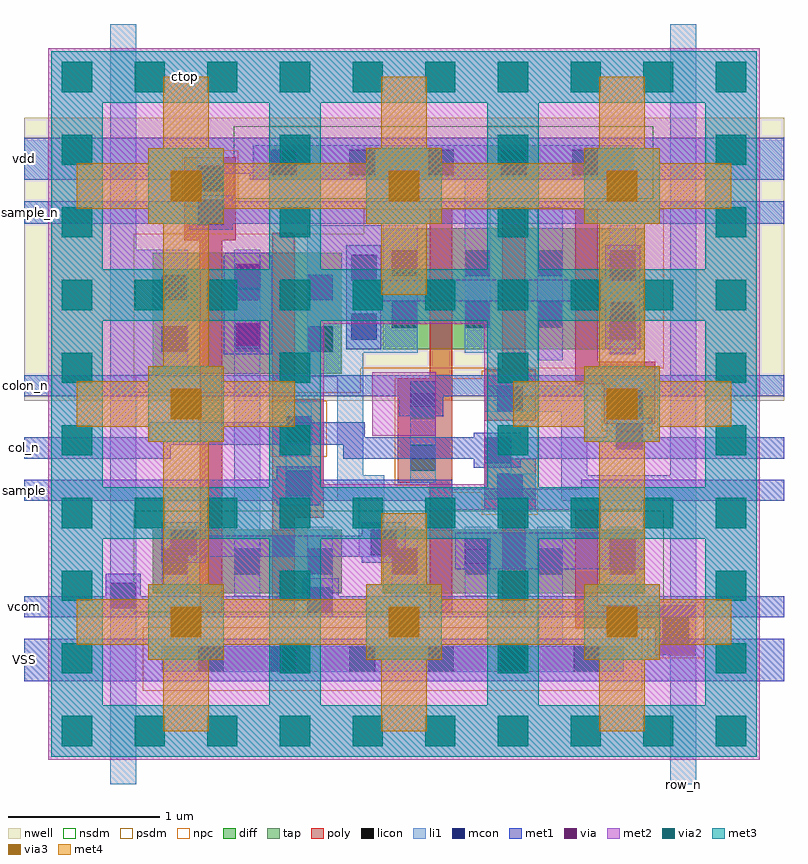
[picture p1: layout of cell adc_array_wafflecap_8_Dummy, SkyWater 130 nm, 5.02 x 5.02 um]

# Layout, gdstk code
import gdstk
lib = gdstk.Library(unit=1e-6, precision=1e-09)
def R(c, l, rs):  # rectangles x0, y0, x1, y1
    for r in rs: c.add(gdstk.rectangle(r[:2], r[2:], *l))
def A(c, l, x, y, w, h, nx, ny, dx, dy):  # array of equal rectangles
    R(c, l, [(x+i*dx, y+j*dy, x+i*dx+w, y+j*dy+h) for i in range(nx) for j in range(ny)])
nwell = (64, 20)
diff = (65, 20)
tap = (65, 44)
poly = (66, 20)
licon = (66, 44)
li1 = (67, 20)
mcon = (67, 44)
met1 = (68, 20)
via = (68, 44)
met2 = (69, 20)
via2 = (69, 44)
met3 = (70, 20)
via3 = (70, 44)
met4 = (71, 20)
nsdm = (93, 44)
psdm = (94, 20)
npc = (95, 20)

adc_array_wafflecap_8_du = lib.new_cell('adc_array_wafflecap_8_Dummy_25um2')
R(adc_array_wafflecap_8_du, met2, [(0.16,0.16,4.86,1.98), (0.16,1.98,1.98,3.04), (3.04,1.98,4.86,3.04), (2.3,2.3,2.72,2.72), (0.16,3.04,4.86,4.86)])
A(adc_array_wafflecap_8_du, via2, 0.25, 0.25, 0.2, 0.2, 10, 4, 0.48, 1.44)
A(adc_array_wafflecap_8_du, via2, 0.25, 0.73, 0.2, 0.2, 4, 2, 1.44, 0.48)
A(adc_array_wafflecap_8_du, via2, 0.25, 2.17, 0.2, 0.2, 4, 2, 1.44, 0.48)
A(adc_array_wafflecap_8_du, via2, 0.25, 3.61, 0.2, 0.2, 4, 2, 1.44, 0.48)
A(adc_array_wafflecap_8_du, met3, 0.18, 0.18, 4.66, 0.34, 1, 4, 0, 1.44)
A(adc_array_wafflecap_8_du, met3, 0.18, 0.52, 0.34, 1.1, 4, 3, 1.44, 1.44)
A(adc_array_wafflecap_8_du, met3, 0.82, 0.82, 0.5, 0.5, 3, 2, 1.44, 2.88)
R(adc_array_wafflecap_8_du, met3, [(0.82,2.26,1.32,2.76), (3.7,2.26,4.2,2.76)])
A(adc_array_wafflecap_8_du, via3, 0.97, 0.97, 0.2, 0.2, 3, 2, 1.44, 2.88)
R(adc_array_wafflecap_8_du, via3, [(0.97,2.41,1.17,2.61), (3.85,2.41,4.05,2.61)])
A(adc_array_wafflecap_8_du, met4, 0.92, 0.35, 0.3, 0.47, 3, 2, 1.44, 3.85)
A(adc_array_wafflecap_8_du, met4, 0.82, 0.82, 0.5, 0.1, 3, 2, 1.44, 0.4)
A(adc_array_wafflecap_8_du, met4, 0.82, 3.7, 0.5, 0.1, 3, 2, 1.44, 0.4)
R(adc_array_wafflecap_8_du, met4, [(0.35,0.92,4.67,1.22), (0.92,1.32,1.22,2.26), (2.36,1.32,2.66,1.79), (3.8,1.32,4.1,2.26), (0.82,2.26,1.32,2.36), (3.7,2.26,4.2,2.36), (0.35,2.36,1.79,2.66), (3.23,2.36,4.67,2.66), (0.82,2.66,1.32,2.76), (3.7,2.66,4.2,2.76), (0.92,2.76,1.22,3.7), (3.8,2.76,4.1,3.7), (2.36,3.23,2.66,3.7), (0.35,3.8,4.67,4.1)])
adc_array_wafflecap_8_du.add(gdstk.Label('symmetry_metal', (2.72,2.3), layer=69, texttype=5))

adc_array_circuit_150n_d = lib.new_cell('adc_array_circuit_150n_Dummy')
R(adc_array_circuit_150n_d, nwell, [(1.17,4.74,5.21,6.61)])
R(adc_array_circuit_150n_d, diff, [(1.55,3.47,2.8,3.89), (3.07,3.47,4.8,3.89), (1.55,4.92,2.8,5.72), (3.07,5.08,4.8,5.88)])
R(adc_array_circuit_150n_d, tap, [(1.61,2.95,4.66,3.12), (2.21,6.2,4.73,6.43)])
R(adc_array_circuit_150n_d, poly, [(4.87,3.06,5.14,3.24), (4.34,3.24,5.14,3.39), (1.86,3.34,2.01,5.8), (2.34,3.34,2.49,3.97), (3.38,3.34,3.53,4.2), (3.86,3.34,4.01,4.02), (4.34,3.39,4.49,4.02), (2.34,3.97,2.68,4.75), (3.74,4.02,4.08,4.34), (3.17,4.2,3.53,4.89), (3.92,4.34,4.08,4.36), (4.53,4.59,4.87,4.85), (3.74,4.61,4.08,4.95), (2.34,4.75,2.49,5.85), (4.34,4.85,4.87,5), (3.38,4.89,3.53,6.01), (3.86,4.95,4.01,6.01), (4.34,5,4.49,6.01), (1.76,5.8,2.1,6.35)])
A(adc_array_circuit_150n_d, licon, 2.33, 2.95, 0.17, 0.17, 3, 2, 0.52, 3.28)
A(adc_array_circuit_150n_d, licon, 1.61, 3.595, 0.17, 0.17, 3, 2, 0.48, 1.47)
A(adc_array_circuit_150n_d, licon, 3.13, 3.595, 0.17, 0.17, 4, 2, 0.48, 1.63)
A(adc_array_circuit_150n_d, licon, 1.61, 5.405, 0.17, 0.17, 3, 1, 0.48, 0)
A(adc_array_circuit_150n_d, licon, 3.13, 5.565, 0.17, 0.17, 4, 1, 0.48, 0)
R(adc_array_circuit_150n_d, licon, [(1.85,2.95,2.02,3.12), (3.84,2.95,4.01,3.12), (4.33,2.95,4.5,3.12), (4.92,3.14,5.09,3.31), (3.825,4.09,3.995,4.26), (3.25,4.28,3.42,4.45), (2.43,4.47,2.6,4.64), (3.25,4.62,3.42,4.79), (4.615,4.64,4.785,4.81), (3.825,4.67,3.995,4.84), (1.845,6.125,2.015,6.295), (3.85,6.23,4.02,6.4), (4.32,6.23,4.49,6.4)])
R(adc_array_circuit_150n_d, li1, [(1.27,2.85,1.44,4.91), (4.97,2.85,5.14,3.06), (1.61,2.95,4.66,3.12), (4.9,3.06,5.14,3.39), (4.09,3.12,4.26,3.91), (2.57,3.31,2.74,3.91), (4.97,3.39,5.14,4.08), (1.61,3.45,1.78,3.67), (2.09,3.45,2.26,5.74), (3.13,3.45,3.3,3.71), (3.61,3.45,3.78,3.91), (4.57,3.45,4.74,3.91), (1.61,3.67,1.84,3.91), (2.91,3.71,3.3,3.91), (2.91,3.91,3.08,4.08), (2.43,4.08,2.6,4.73), (2.77,4.08,3.08,4.25), (4.25,4.08,5.14,4.25), (3.74,4.09,4.08,4.26), (3.25,4.2,3.42,4.87), (2.77,4.25,2.94,4.9), (4.25,4.25,4.42,4.67), (4.97,4.25,5.14,6.64), (3.74,4.26,3.92,4.5), (4.61,4.42,4.79,4.89), (3.74,4.67,4.42,4.84), (1.61,4.9,1.78,4.91), (2.57,4.9,2.94,5.06), (1.27,4.91,1.78,5.74), (4.09,5.01,4.26,6.02), (2.57,5.06,3.3,5.9), (3.61,5.06,3.78,6.2), (4.57,5.06,4.74,5.9), (1.27,5.74,1.44,6.64), (1.84,5.9,2.02,6.38), (2.21,6.2,4.73,6.43)])
A(adc_array_circuit_150n_d, mcon, 2.33, 2.95, 0.17, 0.17, 3, 2, 0.52, 3.28)
R(adc_array_circuit_150n_d, mcon, [(1.85,2.95,2.02,3.12), (3.84,2.95,4.01,3.12), (4.33,2.95,4.5,3.12), (2.57,3.34,2.74,3.51), (1.27,3.37,1.44,3.54), (3.61,3.66,3.78,3.83), (4.57,3.66,4.74,3.83), (1.67,3.72,1.84,3.89), (2.99,3.72,3.16,3.89), (2.43,4.11,2.6,4.28), (3.745,4.33,3.915,4.5), (4.615,4.42,4.785,4.59), (3.25,4.7,3.42,4.87), (2.09,5.085,2.26,5.255), (2.86,5.145,3.03,5.315), (4.57,5.145,4.74,5.315), (2.09,5.475,2.26,5.645), (2.86,5.535,3.03,5.705), (4.57,5.535,4.74,5.705), (1.85,5.9,2.02,6.07), (3.85,6.23,4.02,6.4), (4.32,6.23,4.49,6.4)])
R(adc_array_circuit_150n_d, met1, [(1.17,2.89,5.21,3.17), (1.17,3.31,5.21,3.45), (1.24,3.45,1.47,3.6), (2.54,3.45,2.78,3.57), (3.55,3.63,4.8,3.87), (1.61,3.67,1.9,3.71), (2.93,3.67,3.22,3.71), (1.61,3.71,3.22,3.85), (1.61,3.85,1.9,3.94), (2.93,3.85,3.22,3.94), (3.35,4.02,4.78,4.08), (2.37,4.05,2.66,4.08), (1.17,4.08,5.21,4.16), (1.17,4.16,3.53,4.22), (4.38,4.16,5.21,4.22), (2.37,4.22,2.66,4.31), (3.67,4.3,3.98,4.36), (1.17,4.36,1.67,4.45), (2.81,4.36,5.21,4.45), (1.17,4.45,5.21,4.5), (1.53,4.5,2.95,4.6), (3.67,4.5,3.98,4.53), (4.55,4.5,4.85,4.63), (3.18,4.64,3.47,4.77), (1.17,4.77,5.21,4.91), (2.02,5.05,2.34,5.7), (4.57,5.05,4.74,5.08), (2.83,5.08,3.06,5.4), (4.54,5.08,4.77,5.4), (2.83,5.4,4.77,5.54), (2.83,5.54,3.06,5.77), (4.54,5.54,4.77,5.77), (2.03,5.7,2.32,5.72), (1.79,5.87,2.08,5.91), (1.17,5.91,5.21,6.06), (1.79,6.06,2.08,6.1), (1.17,6.2,1.68,6.24), (2.19,6.2,5.21,6.24), (1.17,6.24,5.21,6.48)])
R(adc_array_circuit_150n_d, via, [(2.105,5.105,2.255,5.255), (2.105,5.495,2.255,5.645)])
R(adc_array_circuit_150n_d, met2, [(2.02,5,2.34,5.72)])
R(adc_array_circuit_150n_d, nsdm, [(1.425,3.345,4.925,4.015), (2.085,6.075,4.855,6.555)])
R(adc_array_circuit_150n_d, psdm, [(1.485,2.825,4.785,3.245), (1.425,4.795,2.925,4.955), (1.425,4.955,4.925,5.845), (2.945,5.845,4.925,6.005)])
R(adc_array_circuit_150n_d, npc, [(4.82,3.04,5.19,3.41), (3.725,3.99,4.095,4.135), (3.37,4.135,4.095,4.18), (3.15,4.18,4.095,4.89), (2.33,4.37,2.7,4.74), (4.515,4.54,4.885,4.91), (3.725,4.89,4.095,4.94), (1.745,6.025,2.115,6.395)])
adc_array_circuit_150n_d.add(gdstk.Label('vint1', (4.175,5.01), layer=67, texttype=5))
adc_array_circuit_150n_d.add(gdstk.Label('vint2', (4.655,3.91), layer=67, texttype=5))
adc_array_circuit_150n_d.add(gdstk.Label('vdrv', (2.91,3.975), layer=67, texttype=5))
adc_array_circuit_150n_d.add(gdstk.Label('VDD', (1.17,6.34), layer=68, texttype=16))
adc_array_circuit_150n_d.add(gdstk.Label('VSS', (1.17,3.03), layer=68, texttype=16))
adc_array_circuit_150n_d.add(gdstk.Label('vcom', (1.17,3.38), layer=68, texttype=16))
adc_array_circuit_150n_d.add(gdstk.Label('sample', (1.17,4.15), layer=68, texttype=16))
adc_array_circuit_150n_d.add(gdstk.Label('sample_n', (1.17,5.985), layer=68, texttype=16))
adc_array_circuit_150n_d.add(gdstk.Label('col_n', (1.17,4.43), layer=68, texttype=16))
adc_array_circuit_150n_d.add(gdstk.Label('colon_n', (1.17,4.84), layer=68, texttype=16))
adc_array_circuit_150n_d.add(gdstk.Label('row_n', (5.055,2.85), layer=67, texttype=16))
adc_array_circuit_150n_d.add(gdstk.Label('cbot', (2.18,5), layer=69, texttype=16))

c_adc_array_wafflecap_8_du = lib.new_cell('adc_array_wafflecap_8_Dummy')
R(c_adc_array_wafflecap_8_du, nwell, [(0,2.53,0.47,4.4), (4.51,2.53,5.02,4.4)])
R(c_adc_array_wafflecap_8_du, li1, [(0.57,0,0.74,0.64), (4.27,0,4.44,0.64), (0.57,4.43,0.74,5.02), (4.27,4.43,4.44,5.02)])
R(c_adc_array_wafflecap_8_du, met1, [(0,0.68,0.47,0.96), (4.51,0.68,5.02,0.96), (0,1.1,0.47,1.24), (4.51,1.1,5.02,1.24), (0,1.87,0.47,2.01), (4.51,1.87,5.02,2.01), (0,2.15,0.47,2.29), (4.51,2.15,5.02,2.29), (0,2.56,0.47,2.7), (4.51,2.56,5.02,2.7), (0,3.7,0.47,3.85), (4.51,3.7,5.02,3.85), (0,3.99,0.47,4.27), (4.51,3.99,5.02,4.27)])
R(c_adc_array_wafflecap_8_du, met4, [(0.92,4.57,1.22,4.67)])
c_adc_array_wafflecap_8_du.add(gdstk.Reference(adc_array_wafflecap_8_du, (0,0)))
c_adc_array_wafflecap_8_du.add(gdstk.Reference(adc_array_circuit_150n_d, (-0.7,-2.21)))
c_adc_array_wafflecap_8_du.add(gdstk.Label('vdd', (0,4.13), layer=68, texttype=16))
c_adc_array_wafflecap_8_du.add(gdstk.Label('sample_n', (0,3.775), layer=68, texttype=16))
c_adc_array_wafflecap_8_du.add(gdstk.Label('colon_n', (0,2.63), layer=68, texttype=16))
c_adc_array_wafflecap_8_du.add(gdstk.Label('col_n', (0,2.22), layer=68, texttype=16))
c_adc_array_wafflecap_8_du.add(gdstk.Label('sample', (0,1.94), layer=68, texttype=16))
c_adc_array_wafflecap_8_du.add(gdstk.Label('vcom', (0,1.17), layer=68, texttype=16))
c_adc_array_wafflecap_8_du.add(gdstk.Label('VSS', (0,0.82), layer=68, texttype=16))
c_adc_array_wafflecap_8_du.add(gdstk.Label('row_n', (4.355,0), layer=67, texttype=16))
c_adc_array_wafflecap_8_du.add(gdstk.Label('ctop', (1.07,4.67), layer=71, texttype=16))

lib.write_gds('adc_array_wafflecap_8_Dummy.gds')
